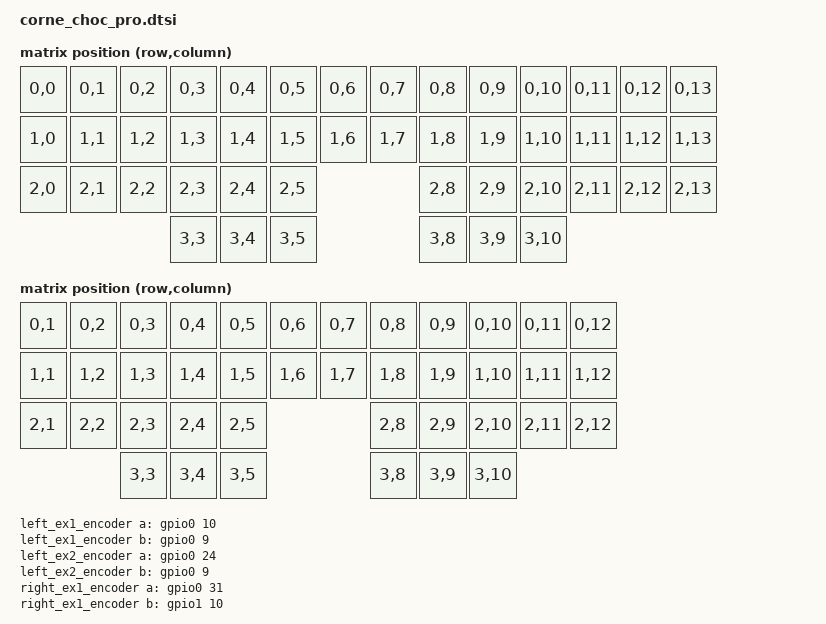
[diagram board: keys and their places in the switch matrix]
/*
* Copyright (c) 2020 The ZMK Contributors
*
* SPDX-License-Identifier: MIT
*/

/dts-v1/;
#include <nordic/nrf52840_qiaa.dtsi>
#include <dt-bindings/zmk/matrix_transform.h>

#include "corne_choc_pro-layouts.dtsi"

&default_layout {
    transform = <&default_transform>;
};

&five_col_layout {
    transform = <&five_col_transform>;
};

/ {
    chosen {
        zephyr,code-partition = &code_partition;
        zephyr,sram = &sram0;
        zephyr,flash = &flash0;
        zmk,kscan = &kscan0;
    };

    default_transform: keymap_transform_0 {
        compatible = "zmk,matrix-transform";
        columns = <14>;
        rows = <4>;
        map = <
            RC(0,0) RC(0,1) RC(0,2) RC(0,3) RC(0,4) RC(0,5) RC(0,6) RC(0,7) RC(0,8) RC(0,9) RC(0,10) RC(0,11) RC(0,12) RC(0,13)
            RC(1,0) RC(1,1) RC(1,2) RC(1,3) RC(1,4) RC(1,5) RC(1,6) RC(1,7) RC(1,8) RC(1,9) RC(1,10) RC(1,11) RC(1,12) RC(1,13)
            RC(2,0) RC(2,1) RC(2,2) RC(2,3) RC(2,4) RC(2,5)                 RC(2,8) RC(2,9) RC(2,10) RC(2,11) RC(2,12) RC(2,13)
                                    RC(3,3) RC(3,4) RC(3,5)                 RC(3,8) RC(3,9) RC(3,10)
        >;
    };

    five_col_transform: keymap_transform_1 {
        compatible = "zmk,matrix-transform";
        columns = <12>;
        rows = <4>;
        map = <
            RC(0,1) RC(0,2) RC(0,3) RC(0,4) RC(0,5) RC(0,6) RC(0,7) RC(0,8) RC(0,9) RC(0,10) RC(0,11) RC(0,12)
            RC(1,1) RC(1,2) RC(1,3) RC(1,4) RC(1,5) RC(1,6) RC(1,7) RC(1,8) RC(1,9) RC(1,10) RC(1,11) RC(1,12)
            RC(2,1) RC(2,2) RC(2,3) RC(2,4) RC(2,5)                 RC(2,8) RC(2,9) RC(2,10) RC(2,11) RC(2,12)
                            RC(3,3) RC(3,4) RC(3,5)                 RC(3,8) RC(3,9) RC(3,10)
        >;
    };

    left_ex1_encoder: encoder_left_ex1 {
        compatible = "alps,ec11";
        a-gpios = <&gpio0 10 (GPIO_ACTIVE_HIGH | GPIO_PULL_UP)>;
        b-gpios = <&gpio0  9 (GPIO_ACTIVE_HIGH | GPIO_PULL_UP)>;
        steps = <80>;
        status = "disabled";
    };

    left_ex2_encoder: encoder_left_ex2 {
        compatible = "alps,ec11";
        a-gpios = <&gpio0 24 (GPIO_ACTIVE_HIGH | GPIO_PULL_UP)>;
        b-gpios = <&gpio0  9 (GPIO_ACTIVE_HIGH | GPIO_PULL_UP)>;
        steps = <80>;
        status = "disabled";
    };

    right_ex1_encoder: encoder_right_ex1 {
        compatible = "alps,ec11";
        a-gpios = <&gpio0 31 (GPIO_ACTIVE_HIGH | GPIO_PULL_UP)>;
        b-gpios = <&gpio1 10 (GPIO_ACTIVE_HIGH | GPIO_PULL_UP)>;
        steps = <80>;
        status = "disabled";
    };

    right_ex2_encoder: encoder_right_ex2 {
        compatible = "alps,ec11";
        a-gpios = <&gpio0 29 (GPIO_ACTIVE_HIGH | GPIO_PULL_UP)>;
        b-gpios = <&gpio1 10 (GPIO_ACTIVE_HIGH | GPIO_PULL_UP)>;
        steps = <80>;
        status = "disabled";
    };

    sensors: sensors {
        compatible = "zmk,keymap-sensors";
        sensors = <&left_ex1_encoder &left_ex2_encoder &right_ex1_encoder &right_ex2_encoder>;
        triggers-per-rotation = <24>;
    };
};

&gpio0 {
    status = "okay";
};

&gpio1 {
    status = "okay";
};

zephyr_udc0: &usbd {
    status = "okay";
};


&pinctrl {
    spi0_default: spi0_default {
        group1 {
            psels = <NRF_PSEL(SPIM_SCK, 0, 17)>,
                <NRF_PSEL(SPIM_MOSI, 0, 20)>,
                <NRF_PSEL(SPIM_MISO, 0, 25)>;
        };
    };
    spi0_sleep: spi0_sleep {
        group1 {
            psels = <NRF_PSEL(SPIM_SCK, 0, 17)>,
                <NRF_PSEL(SPIM_MOSI, 0, 20)>,
                <NRF_PSEL(SPIM_MISO, 0, 25)>;
            low-power-enable;
        };
    };
};

nice_view_spi: &spi0 {
    compatible = "nordic,nrf-spim";
    pinctrl-0 = <&spi0_default>;
    pinctrl-1 = <&spi0_sleep>;
    pinctrl-names = "default", "sleep";
    cs-gpios = <&gpio0 6 GPIO_ACTIVE_HIGH>;
};

&flash0 {
    /*
* For more information, see:
* http://docs.zephyrproject.org/latest/devices/dts/flash_partitions.html
    */
    partitions {
        compatible = "fixed-partitions";
        #address-cells = <1>;
        #size-cells = <1>;

        sd_partition: partition@0 {
            label = "softdevice";
            reg = <0x00000000 0x00026000>;
        };
        code_partition: partition@26000 {
            label = "code_partition";
            reg = <0x00026000 0x000c6000>;
        };
        storage_partition: partition@ec000 {
            label = "storage";
            reg = <0x000ec000 0x00008000>;
        };
        boot_partition: partition@f4000 {
            label = "adafruit_boot";
            reg = <0x000f4000 0x0000c000>;
        };
    };
};
